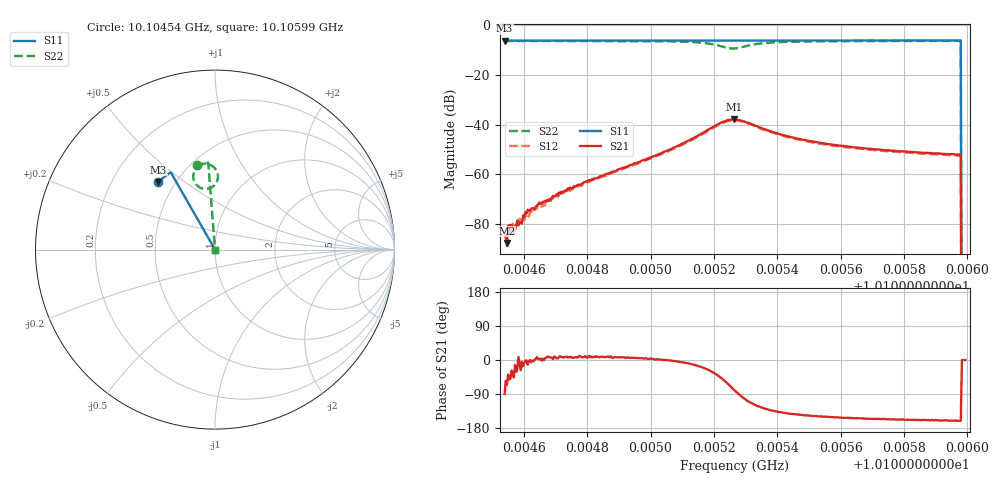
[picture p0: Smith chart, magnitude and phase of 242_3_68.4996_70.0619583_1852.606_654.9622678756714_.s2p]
#  HZ  S  RI  R  50.00
! Rohde & Schwarz Vector Network Analyzer
! Rohde-Schwarz,ZNB20-2Port,1311601062101988,3.16
! Created: UTC 3/20/2024, 5:14:37 PM
! freq[Hz]  re:S11  im:S11  re:S21  im:S21  re:S12  im:S12  re:S22  im:S22
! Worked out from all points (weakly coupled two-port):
!   401 points, 10.10454 GHz to 10.10599 GHz, reference 50 ohm
!   highest |S21| = -37.90 dB at 10.10526 GHz (marker M1); lowest = -87.7 dB at 10.10455 GHz (marker M2)
!   lowest |S11| = -6.2 dB at 10.10454 GHz (marker M3), VSWR 2.94, Z = 20.2 + j20.2 ohm
!   |S11| at or under -10 dB: 10.10598 GHz to end of sweep
!   |S22| runs from - to -6.3 dB; largest |S21 - S12| = 0.0014
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1.0104539e10  -0.3156 0.3776  9.58e-08 -6.39e-05  3.93e-05 -3.64e-05  -0.0997 0.4741
1.0104547e10  -0.3154 0.3779  1.7e-05 -3.76e-05  2.26e-05 -2.77e-05  -0.0992 0.4742
1.0104576e10  -0.3139 0.3793  7.87e-05 -4.84e-05  0.000105 -1.71e-05  -0.097 0.4747
1.0104587e10  -0.3134 0.3797  0.000105 -1.71e-05  0.000127 -1.37e-05  -0.096 0.4748
1.0104605e10  -0.3126 0.3803  0.000174 -7e-06  0.000146 9.04e-06  -0.0943 0.4753
1.0104619e10  -0.312 0.3809  0.000186 -8.95e-07  0.000169 1.66e-05  -0.0929 0.4756
1.0104637e10  -0.311 0.3816  0.000222 1.11e-05  0.000212 6.86e-06  -0.0916 0.4758
1.0104659e10  -0.3101 0.3827  0.000278 1.86e-05  0.000226 1.81e-05  -0.0895 0.4762
1.010471e10  -0.3078 0.3846  0.000426 4.74e-05  0.000361 8.44e-05  -0.0849 0.4769
1.0104783e10  -0.3044 0.3875  0.000635 8.41e-05  0.000575 0.000131  -0.0775 0.4779
1.0105027e10  -0.2928 0.397  0.00257 7.14e-05  0.00243 0.000261  -0.041 0.4766
1.0105125e10  -0.288 0.4007  0.00487 -0.000866  0.00468 -0.000371  -0.0108 0.4628
1.0105205e10  -0.2839 0.4035  0.00768 -0.0057  0.00788 -0.00465  0.0167 0.4044
1.0105263e10  -0.2813 0.4048  0.00265 -0.0125  0.0037 -0.0116  -0.05 0.338
1.0105267e10  -0.2811 0.405  0.00196 -0.0125  0.00313 -0.0119  -0.0573 0.3381
1.0105328e10  -0.2788 0.4075  -0.00456 -0.0085  -0.00362 -0.00862  -0.1204 0.3972
1.0105405e10  -0.2751 0.4105  -0.00475 -0.00443  -0.00418 -0.0047  -0.1098 0.4452
1.010551e10  -0.27 0.4143  -0.00389 -0.00247  -0.00348 -0.00267  -0.0881 0.4666
1.0105754e10  -0.2577 0.4229  -0.00276 -0.00119  -0.00254 -0.00137  -0.0576 0.4799
1.0105972e10  -0.2465 0.4301  -0.00234 -0.000839  -0.00217 -0.00101  -0.0383 0.4841
1.010599e10  0 0  0 0  0 0  0 0
1.0105994e10  0 0  0 0  0 0  0 0
